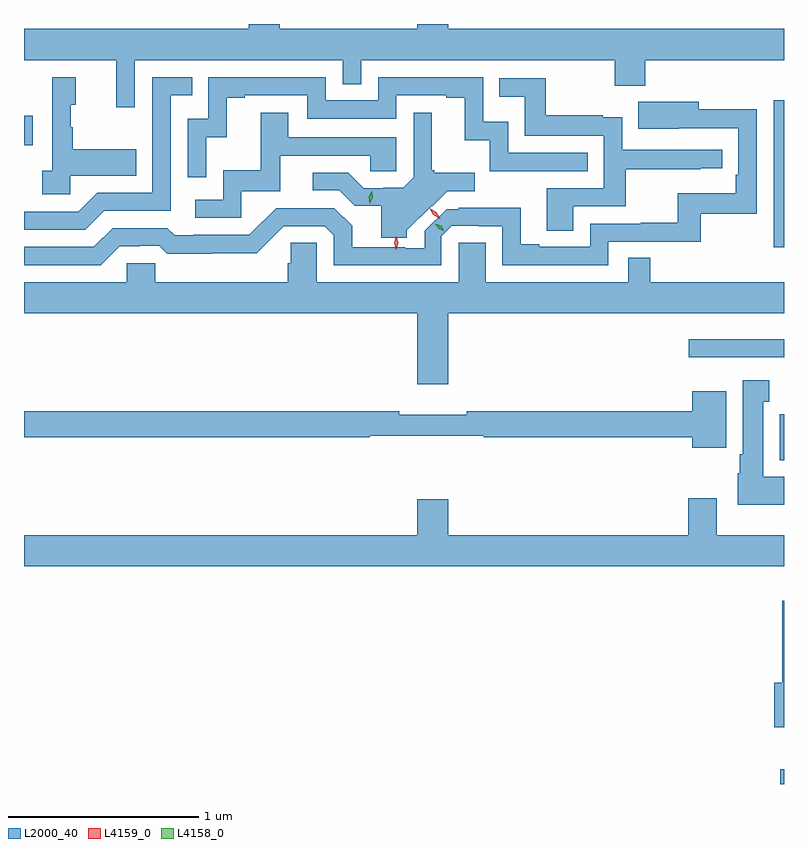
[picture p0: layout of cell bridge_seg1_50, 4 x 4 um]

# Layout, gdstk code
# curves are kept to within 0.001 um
import gdstk
lib = gdstk.Library(unit=1e-6, precision=1e-09)
def R(c, l, rs):  # rectangles x0, y0, x1, y1
    for r in rs: c.add(gdstk.rectangle(r[:2], r[2:], *l))
def P(c, l, *ps):  # polygons
    for p in ps: c.add(gdstk.Polygon(p, *l))
L2000_40 = (2000, 40)
L4158_0 = (4158, 0)
L4159_0 = (4159, 0)

bridge_seg1_50 = lib.new_cell('bridge_seg1_50')
R(bridge_seg1_50, L2000_40, [(1089.995,551.918,1090.014,551.995), (1089.992,553.622,1090.014,553.864), (1089.513,554.163,1090.014,554.26), (1089.959,554.742,1090.014,555.517), (1086.014,555.28,1086.061,555.435)])
P(bridge_seg1_50, L2000_40, [(1086.597,555.728),(1087.692,555.728),(1087.692,555.601),(1087.788,555.601),(1087.788,555.728),(1089.124,555.728),(1089.124,555.593),(1089.284,555.593),(1089.284,555.728),(1090.014,555.728),(1090.014,555.892),(1088.248,555.892),(1088.248,555.918),(1088.084,555.918),(1088.084,555.892),(1087.36,555.892),(1087.36,555.918),(1087.196,555.918),(1087.196,555.892),(1086.014,555.892),(1086.014,555.728),(1086.5,555.728),(1086.5,555.48),(1086.597,555.48)],
  [(1086.972,555.323),(1087.082,555.323),(1087.082,555.531),(1087.177,555.531),(1087.177,555.543),(1087.506,555.543),(1087.506,555.42),(1087.974,555.42),(1087.974,555.543),(1088.237,555.543),(1088.237,555.531),(1088.333,555.531),(1088.333,555.305),(1088.466,555.305),(1088.466,555.144),(1088.981,555.144),(1088.981,555.24),(1088.562,555.24),(1088.562,555.403),(1088.43,555.403),(1088.43,555.639),(1087.878,555.639),(1087.878,555.516),(1087.602,555.516),(1087.602,555.639),(1086.984,555.639),(1086.984,555.42),(1086.876,555.42),(1086.876,555.111),(1086.972,555.111)],
  [(1086.436,554.934),(1086.786,554.934),(1086.786,555.543),(1086.899,555.543),(1086.899,555.639),(1086.69,555.639),(1086.69,555.03),(1086.399,555.03),(1086.3,554.931),(1086.014,554.931),(1086.014,554.835),(1086.337,554.835)],
  [(1086.258,555.119),(1086.605,555.119),(1086.605,555.259),(1086.271,555.259),(1086.271,555.374),(1086.261,555.374),(1086.261,555.492),(1086.286,555.492),(1086.286,555.637),(1086.162,555.637),(1086.162,555.146),(1086.111,555.146),(1086.111,555.021),(1086.258,555.021)],
  [(1088.905,554.958),(1089.182,554.958),(1089.182,555.154),(1089.575,555.154),(1089.575,555.159),(1089.688,555.159),(1089.688,555.255),(1089.162,555.255),(1089.162,555.427),(1089.059,555.427),(1089.059,555.439),(1088.761,555.439),(1088.761,555.633),(1088.515,555.633),(1088.515,555.536),(1088.65,555.536),(1088.65,555.33),(1089.066,555.33),(1089.066,555.054),(1088.765,555.054),(1088.765,554.83),(1088.905,554.83)],
  [(1086.517,554.748),(1086.624,554.748),(1086.624,554.751),(1086.727,554.751),(1086.769,554.709),(1087.002,554.709),(1087.002,554.711),(1087.238,554.711),(1087.38,554.853),(1087.596,554.853),(1087.644,554.805),(1087.644,554.649),(1088.211,554.649),(1088.211,554.802),(1088.266,554.857),(1088.407,554.857),(1088.407,554.853),(1088.532,554.853),(1088.532,554.649),(1089.09,554.649),(1089.09,554.772),(1089.577,554.772),(1089.577,554.919),(1089.87,554.919),(1089.87,555.47),(1089.565,555.47),(1089.565,555.508),(1089.247,555.508),(1089.247,555.368),(1089.774,555.369),(1089.774,555.124),(1089.761,555.124),(1089.761,555.028),(1089.456,555.028),(1089.456,554.873),(1089.259,554.873),(1089.259,554.868),(1088.994,554.868),(1088.994,554.745),(1088.725,554.745),(1088.725,554.758),(1088.629,554.758),(1088.629,554.951),(1088.301,554.951),(1088.301,554.944),(1088.238,554.944),(1088.124,554.83),(1088.124,554.738),(1088.021,554.738),(1088.021,554.742),(1087.741,554.742),(1087.741,554.855),(1087.647,554.949),(1087.341,554.949),(1087.2,554.808),(1086.907,554.808),(1086.907,554.805),(1086.808,554.805),(1086.769,554.844),(1086.48,554.844),(1086.381,554.745),(1086.014,554.745),(1086.014,554.649),(1086.418,554.649)],
  [(1088.029,554.832),(1088.159,554.962),(1088.162,554.96),(1088.241,555.039),(1088.386,555.039),(1088.386,555.136),(1088.173,555.136),(1088.173,555.148),(1088.161,555.148),(1088.161,555.451),(1088.064,555.451),(1088.064,555.111),(1088.01,555.057),(1087.905,555.057),(1087.905,555.054),(1087.801,555.054),(1087.72,555.135),(1087.533,555.135),(1087.533,555.042),(1087.674,555.042),(1087.754,554.962),(1087.893,554.962),(1087.893,554.794),(1088.029,554.794)],
  [(1087.158,555.039),(1087.363,555.039),(1087.363,555.225),(1087.837,555.225),(1087.837,555.142),(1087.974,555.142),(1087.974,555.321),(1087.405,555.321),(1087.405,555.451),(1087.261,555.451),(1087.261,555.148),(1087.062,555.148),(1087.062,554.994),(1086.915,554.994),(1086.915,554.898),(1087.158,554.898)],
  [(1088.248,554.396),(1090.014,554.396),(1090.014,554.56),(1089.311,554.56),(1089.311,554.687),(1089.195,554.687),(1089.195,554.56),(1088.443,554.56),(1088.443,554.768),(1088.303,554.768),(1088.303,554.56),(1087.554,554.56),(1087.554,554.768),(1087.417,554.768),(1087.417,554.658),(1087.403,554.658),(1087.403,554.56),(1086.705,554.56),(1086.705,554.658),(1086.555,554.658),(1086.555,554.56),(1086.014,554.56),(1086.014,554.396),(1088.084,554.396),(1088.084,554.022),(1088.248,554.022)],
  [(1090.014,553.534),(1089.904,553.534),(1089.904,553.931),(1089.937,553.931),(1089.937,554.044),(1089.797,554.044),(1089.797,553.654),(1089.782,553.654),(1089.782,553.554),(1089.77,553.554),(1089.77,553.388),(1090.014,553.388)],
  [(1089.709,553.984),(1089.53,553.984),(1089.53,553.88),(1088.344,553.88),(1088.344,553.861),(1087.988,553.861),(1087.988,553.88),(1086.014,553.88),(1086.014,553.744),(1087.834,553.744),(1087.834,553.752),(1088.434,553.752),(1088.434,553.744),(1089.53,553.744),(1089.53,553.688),(1089.709,553.688)],
  [(1090.014,553.228),(1089.661,553.228),(1089.661,553.423),(1089.509,553.423),(1089.509,553.228),(1088.248,553.228),(1088.248,553.417),(1088.084,553.417),(1088.084,553.228),(1086.014,553.228),(1086.014,553.064),(1090.014,553.064)],
  [(1090.014,552.883),(1090.006,552.883),(1090.006,552.451),(1089.962,552.451),(1089.962,552.218),(1090.014,552.218)])
P(bridge_seg1_50, L4158_0, [(1087.834,554.972),(1087.834,554.972),(1087.829,555.008),(1087.844,555.041),(1087.844,555.041),(1087.845,555.041),(1087.849,555.005),(1087.834,554.972)],
  [(1088.227,554.827),(1088.196,554.84),(1088.179,554.868),(1088.179,554.868),(1088.179,554.868),(1088.21,554.855),(1088.227,554.827),(1088.227,554.827)])
P(bridge_seg1_50, L4159_0, [(1088.203,554.894),(1088.169,554.914),(1088.15,554.948),(1088.15,554.949),(1088.15,554.949),(1088.184,554.928),(1088.204,554.894),(1088.204,554.894)],
  [(1087.974,554.73),(1087.974,554.73),(1087.963,554.766),(1087.972,554.802),(1087.972,554.802),(1087.972,554.802),(1087.983,554.766),(1087.974,554.73)])

lib.write_gds('bridge_seg1_50.gds')
